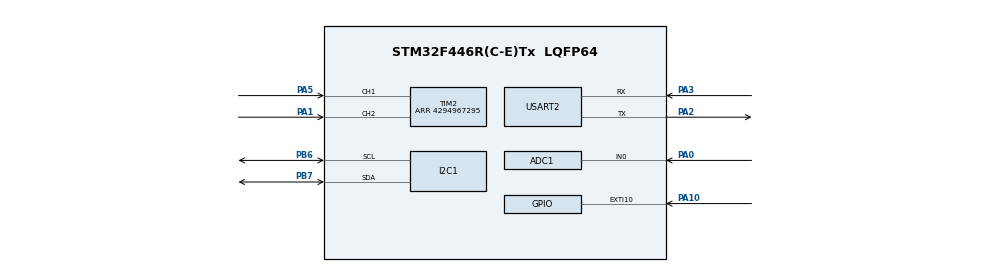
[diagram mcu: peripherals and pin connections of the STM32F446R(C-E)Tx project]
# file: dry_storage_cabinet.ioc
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ADC1.Channel-0\#ChannelRegularConversion=ADC_CHANNEL_0
ADC1.InjNumberOfConversion=0
ADC1.NbrOfConversionFlag=1
ADC1.Rank-0\#ChannelRegularConversion=1
ADC1.SamplingTime-0\#ChannelRegularConversion=ADC_SAMPLETIME_480CYCLES
ADC1.master=1
Mcu.Family=STM32F4
Mcu.Name=STM32F446R(C-E)Tx
Mcu.Package=LQFP64
NVIC.EXTI15_10_IRQn=true\:0\:0\:false\:false\:true\:true\:true\:true
NVIC.PriorityGroup=NVIC_PRIORITYGROUP_4
NVIC.TIM3_IRQn=true\:0\:0\:false\:false\:true\:true\:true\:true
PA0-WKUP.Signal=ADCx_IN0
PA1.Signal=S_TIM2_CH2
PA10.GPIO_PuPd=GPIO_PULLUP
PA10.Signal=GPXTI10
PA2.Mode=Asynchronous
PA2.Signal=USART2_TX
PA3.Mode=Asynchronous
PA3.Signal=USART2_RX
PA5.Signal=S_TIM2_CH1_ETR
PB6.Mode=I2C
PB6.Signal=I2C1_SCL
PB7.Mode=I2C
PB7.Signal=I2C1_SDA
ProjectManager.HeapSize=0x200
ProjectManager.StackSize=0x400
ProjectManager.TargetToolchain=STM32CubeIDE
RCC.CortexFreq_Value=16000000
RCC.USBFreq_Value=96000000
RCC.VCOOutputFreq_Value=192000000
SH.ADCx_IN0.0=ADC1_IN0,IN0
SH.S_TIM2_CH1_ETR.0=TIM2_CH1,Encoder_Interface
SH.S_TIM2_CH2.0=TIM2_CH2,Encoder_Interface
TIM2.AutoReloadPreload=TIM_AUTORELOAD_PRELOAD_ENABLE
TIM2.EncoderMode=TIM_ENCODERMODE_TI12
TIM2.IC1Filter=10
TIM2.IC2Filter=10
TIM2.Period=4294967295
TIM3.AutoReloadPreload=TIM_AUTORELOAD_PRELOAD_ENABLE
TIM3.Period=9999
TIM3.Prescaler=15
USART2.VirtualMode=VM_ASYNC
VP_TIM3_VS_ClockSourceINT.Mode=Internal
board=custom

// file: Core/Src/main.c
/* USER CODE BEGIN Header */
/**
  ******************************************************************************
  * @file           : main.c
  * @brief          : Main program body
  ******************************************************************************
  * @attention
  *
  * Copyright (c) 2026 STMicroelectronics.
  * All rights reserved.
  *
  * This software is licensed under terms that can be found in the LICENSE file
  * in the root directory of this software component.
  * If no LICENSE file comes with this software, it is provided AS-IS.
  *
  ******************************************************************************
  */
/* USER CODE END Header */
#include "main.h"

/* USER CODE BEGIN Includes */
#include <math.h>

#include "uart.h"
#include "encoder.h"
#include "oled.h"
#include "sht30.h"
#include "control.h"
#include "display.h"
/* USER CODE END Includes */

ADC_HandleTypeDef hadc1;

I2C_HandleTypeDef hi2c1;

TIM_HandleTypeDef htim2;
TIM_HandleTypeDef htim3;

UART_HandleTypeDef huart2;

/* USER CODE BEGIN PV */
oled_t oled;
encoder_t encoder;
sht30_t sht30;
control_t control;
display_t display;
uint32_t oled_tick = 0;
/* USER CODE END PV */

void SystemClock_Config(void);
static void MX_GPIO_Init(void);
static void MX_I2C1_Init(void);
static void MX_TIM2_Init(void);
static void MX_USART2_UART_Init(void);
static void MX_TIM3_Init(void);
static void MX_ADC1_Init(void);

/* USER CODE BEGIN 0 */
//void HAL_GPIO_EXTI_Callback(uint16_t GPIO_Pin)
//{
//	if (GPIO_Pin == encoder.button_pin)
//	{
//		if (HAL_GetTick() - encoder.debounce_tick >= 200)
//		{
//			encoder.is_pressed_button = 1;
//			encoder.debounce_tick = HAL_GetTick();
//		}
//	}
//}

//void HAL_TIM_PeriodElapsedCallback(TIM_HandleTypeDef *htim)
//{
//	if (htim == &htim3)
//	{
//		encoder_status_t status;
//		status = encoder_read(&encoder);
//		switch(status)
//		{
//		case ENCODER_NONE:
//			break;
//		case ENCODER_SCROLL_UP:
//			if (display.state == DISPLAY_MENU)
//			{
//				display.cursor_menu = (display.cursor_menu == CURSOR_MENU_SET_TARGET) ? CURSOR_MENU_EXIT : display.cursor_menu - 1;
//			}
//			else if (display.state == DISPLAY_SET_TARGET)
//			{
//				display.cursor_set_target = (display.cursor_set_target == CURSOR_SET_TARGET_TEMP) ? CURSOR_SET_TARGET_BACK : display.cursor_set_target - 1;
//			}
//			else if (display.state == DISPLAY_SET_TARGET_CHOOSE)
//			{
//				if (display.cursor_set_target == CURSOR_SET_TARGET_TEMP)
//				{
//					control.target_temp += 1;
//				}
//				else if (display.cursor_set_target == CURSOR_SET_TARGET_HUM)
//				{
//					control.target_hum += 1;
//				}
//
//				// T.B.D about safety min and max
//			}
//			else if (display.state == DISPLAY_SET_HYSTERESIS)
//			{
//				display.cursor_set_hysteresis = (display.cursor_set_hysteresis == CURSOR_SET_HYSTERESIS_TEMP) ? CURSOR_SET_HYSTERESIS_BACK : display.cursor_set_hysteresis - 1;
//			}
//			else if (display.state == DISPLAY_SET_HYSTERESIS_CHOOSE)
//			{
//				if (display.cursor_set_hysteresis == CURSOR_SET_HYSTERESIS_TEMP)
//				{
//					control.temp_hysteresis += 1;
//				}
//				else if (display.cursor_set_hysteresis == CURSOR_SET_HYSTERESIS_HUM)
//				{
//					control.hum_hysteresis += 1;
//				}
//			}
//			break;
//		case ENCODER_SCROLL_DOWN:
//			if (display.state == DISPLAY_MENU)
//			{
//				display.cursor_menu = (display.cursor_menu == CURSOR_MENU_EXIT) ? CURSOR_MENU_SET_TARGET : display.cursor_menu + 1;
//			}
//			else if (display.state == DISPLAY_SET_TARGET)
//			{
//				display.cursor_set_target = (display.cursor_set_target == CURSOR_SET_TARGET_BACK) ? CURSOR_SET_TARGET_TEMP : display.cursor_set_target + 1;
//			}
//			else if (display.state == DISPLAY_SET_TARGET_CHOOSE)
//			{
//				if (display.cursor_set_target == CURSOR_SET_TARGET_TEMP)
//				{
//					control.target_temp -= 1;
//				}
//				else if (display.cursor_set_target == CURSOR_SET_TARGET_HUM)
//				{
//					control.target_hum -= 1;
//				}
//
//				// T.B.D about safety min and max
//			}
//			else if (display.state == DISPLAY_SET_HYSTERESIS)
//			{
//				display.cursor_set_hysteresis = (display.cursor_set_hysteresis == CURSOR_SET_HYSTERESIS_BACK) ? CURSOR_SET_HYSTERESIS_TEMP : display.cursor_set_hysteresis + 1;
//			}
//			else if (display.state == DISPLAY_SET_HYSTERESIS_CHOOSE)
//			{
//				if (display.cursor_set_hysteresis == CURSOR_SET_HYSTERESIS_TEMP)
//				{
//					control.temp_hysteresis -= 1;
//				}
//				else if (display.cursor_set_hysteresis == CURSOR_SET_HYSTERESIS_HUM)
//				{
//					control.hum_hysteresis -= 1;
//				}
//			}
//			break;
//		case ENCODER_PRESSED:
//			if (display.state == DISPLAY_MAIN) display.state = DISPLAY_MENU;
//			else if (display.state == DISPLAY_MENU)
//			{
//				if (display.cursor_menu == CURSOR_MENU_SET_TARGET)
//				{
//					display.state = DISPLAY_SET_TARGET;
//					display.cursor_set_target = CURSOR_SET_TARGET_TEMP;
//				}
//				else if (display.cursor_menu == CURSOR_MENU_SET_HYSTERESIS)
//				{
//					display.state = DISPLAY_SET_HYSTERESIS;
//					display.cursor_set_hysteresis = CURSOR_SET_HYSTERESIS_TEMP;
//				}
//				else if (display.cursor_menu == CURSOR_MENU_EXIT)
//				{
//					// back to main display
//					display.state = DISPLAY_MAIN;
//					display.cursor_menu = CURSOR_MENU_SET_TARGET;
//				}
//			}
//			else if (display.state == DISPLAY_SET_TARGET)
//			{
//				if (display.cursor_set_target != CURSOR_SET_TARGET_BACK)
//				{
//					display.state = DISPLAY_SET_TARGET_CHOOSE;
//				}
//				else
//				{
//					display.state = DISPLAY_MENU;
//					display.cursor_menu = CURSOR_MENU_SET_TARGET;
//				}
//
//			}
//			else if (display.state == DISPLAY_SET_TARGET_CHOOSE)
//			{
//				display.state = DISPLAY_SET_TARGET;
//			}
//			else if (display.state == DISPLAY_SET_HYSTERESIS)
//			{
//				if (display.cursor_set_hysteresis != CURSOR_SET_HYSTERESIS_BACK)
//				{
//					display.state = DISPLAY_SET_HYSTERESIS_CHOOSE;
//				}
//				else
//				{
//					display.state = DISPLAY_MENU;
//					display.cursor_menu = CURSOR_MENU_SET_TARGET;
//				}
//			}
//			else if (display.state == DISPLAY_SET_HYSTERESIS_CHOOSE)
//			{
//				display.state = DISPLAY_SET_HYSTERESIS;
//			}
//			break;
//		}
//	}
//}
/* USER CODE END 0 */

int main(void)
{

  /* MCU Configuration--------------------------------------------------------*/

  /* Reset of all peripherals, Initializes the Flash interface and the Systick. */
  HAL_Init();

  /* Configure the system clock */
  SystemClock_Config();

  /* Initialize all configured peripherals */
  MX_GPIO_Init();
  MX_I2C1_Init();
  MX_TIM2_Init();
  MX_USART2_UART_Init();
  MX_TIM3_Init();
  MX_ADC1_Init();
  /* USER CODE BEGIN 2 */
//  if (sht30_init(&sht30, &hi2c1, SHT30_ADDR, high_repeatability_mode) == SHT30_ERROR) uart_send_string("FAIL");
//  oled_init(&oled, &hi2c1, OLED_ADDR);
//  encoder_init(&encoder, &htim2, GPIO_PIN_10);
//  control_init(&control);
//  display_init(&display);
//  HAL_TIM_Base_Start_IT(&htim3);
  /* USER CODE END 2 */

  /* Infinite loop */
  /* USER CODE BEGIN WHILE */
  while (1)
  {

	  if (HAL_GetTick() - oled_tick >= 1000)
	  {
		  HAL_ADC_Start(&hadc1);
		  HAL_ADC_PollForConversion(&hadc1, 1000);
		  uint32_t raw = HAL_ADC_GetValue(&hadc1);
		  float r = 10000.0 * (float)raw / (4095.0 - (float)raw);
		  float inv_t = (1.0 / 298.15) + (1.0 / 3950.0) * logf(r / 10000.0);
		  uart_send_int((1.0 / inv_t) - 273.15);
		  uart_send_string("\r\n");
		  oled_tick = HAL_GetTick();
	  }
    /* USER CODE END WHILE */

  }
}

void SystemClock_Config(void)
{
  RCC_OscInitTypeDef RCC_OscInitStruct = {0};
  RCC_ClkInitTypeDef RCC_ClkInitStruct = {0};

  /** Configure the main internal regulator output voltage
  */
  __HAL_RCC_PWR_CLK_ENABLE();
  __HAL_PWR_VOLTAGESCALING_CONFIG(PWR_REGULATOR_VOLTAGE_SCALE3);

  /** Initializes the RCC Oscillators according to the specified parameters
  * in the RCC_OscInitTypeDef structure.
  */
  RCC_OscInitStruct.OscillatorType = RCC_OSCILLATORTYPE_HSI;
  RCC_OscInitStruct.HSIState = RCC_HSI_ON;
  RCC_OscInitStruct.HSICalibrationValue = RCC_HSICALIBRATION_DEFAULT;
  RCC_OscInitStruct.PLL.PLLState = RCC_PLL_NONE;
  if (HAL_RCC_OscConfig(&RCC_OscInitStruct) != HAL_OK)
  {
    Error_Handler();
  }

  /** Initializes the CPU, AHB and APB buses clocks
  */
  RCC_ClkInitStruct.ClockType = RCC_CLOCKTYPE_HCLK|RCC_CLOCKTYPE_SYSCLK
                              |RCC_CLOCKTYPE_PCLK1|RCC_CLOCKTYPE_PCLK2;
  RCC_ClkInitStruct.SYSCLKSource = RCC_SYSCLKSOURCE_HSI;
  RCC_ClkInitStruct.AHBCLKDivider = RCC_SYSCLK_DIV1;
  RCC_ClkInitStruct.APB1CLKDivider = RCC_HCLK_DIV1;
  RCC_ClkInitStruct.APB2CLKDivider = RCC_HCLK_DIV1;

  if (HAL_RCC_ClockConfig(&RCC_ClkInitStruct, FLASH_LATENCY_0) != HAL_OK)
  {
    Error_Handler();
  }
}

static void MX_ADC1_Init(void)
{

  ADC_ChannelConfTypeDef sConfig = {0};

  /** Configure the global features of the ADC (Clock, Resolution, Data Alignment and number of conversion)
  */
  hadc1.Instance = ADC1;
  hadc1.Init.ClockPrescaler = ADC_CLOCK_SYNC_PCLK_DIV2;
  hadc1.Init.Resolution = ADC_RESOLUTION_12B;
  hadc1.Init.ScanConvMode = DISABLE;
  hadc1.Init.ContinuousConvMode = DISABLE;
  hadc1.Init.DiscontinuousConvMode = DISABLE;
  hadc1.Init.ExternalTrigConvEdge = ADC_EXTERNALTRIGCONVEDGE_NONE;
  hadc1.Init.ExternalTrigConv = ADC_SOFTWARE_START;
  hadc1.Init.DataAlign = ADC_DATAALIGN_RIGHT;
  hadc1.Init.NbrOfConversion = 1;
  hadc1.Init.DMAContinuousRequests = DISABLE;
  hadc1.Init.EOCSelection = ADC_EOC_SINGLE_CONV;
  if (HAL_ADC_Init(&hadc1) != HAL_OK)
  {
    Error_Handler();
  }

  /** Configure for the selected ADC regular channel its corresponding rank in the sequencer and its sample time.
  */
  sConfig.Channel = ADC_CHANNEL_0;
  sConfig.Rank = 1;
  sConfig.SamplingTime = ADC_SAMPLETIME_480CYCLES;
  if (HAL_ADC_ConfigChannel(&hadc1, &sConfig) != HAL_OK)
  {
    Error_Handler();
  }

}

static void MX_I2C1_Init(void)
{

  hi2c1.Instance = I2C1;
  hi2c1.Init.ClockSpeed = 100000;
  hi2c1.Init.DutyCycle = I2C_DUTYCYCLE_2;
  hi2c1.Init.OwnAddress1 = 0;
  hi2c1.Init.AddressingMode = I2C_ADDRESSINGMODE_7BIT;
  hi2c1.Init.DualAddressMode = I2C_DUALADDRESS_DISABLE;
  hi2c1.Init.OwnAddress2 = 0;
  hi2c1.Init.GeneralCallMode = I2C_GENERALCALL_DISABLE;
  hi2c1.Init.NoStretchMode = I2C_NOSTRETCH_DISABLE;
  if (HAL_I2C_Init(&hi2c1) != HAL_OK)
  {
    Error_Handler();
  }

}

static void MX_TIM2_Init(void)
{

  TIM_Encoder_InitTypeDef sConfig = {0};
  TIM_MasterConfigTypeDef sMasterConfig = {0};

  htim2.Instance = TIM2;
  htim2.Init.Prescaler = 0;
  htim2.Init.CounterMode = TIM_COUNTERMODE_UP;
  htim2.Init.Period = 4294967295;
  htim2.Init.ClockDivision = TIM_CLOCKDIVISION_DIV1;
  htim2.Init.AutoReloadPreload = TIM_AUTORELOAD_PRELOAD_ENABLE;
  sConfig.EncoderMode = TIM_ENCODERMODE_TI12;
  sConfig.IC1Polarity = TIM_ICPOLARITY_RISING;
  sConfig.IC1Selection = TIM_ICSELECTION_DIRECTTI;
  sConfig.IC1Prescaler = TIM_ICPSC_DIV1;
  sConfig.IC1Filter = 10;
  sConfig.IC2Polarity = TIM_ICPOLARITY_RISING;
  sConfig.IC2Selection = TIM_ICSELECTION_DIRECTTI;
  sConfig.IC2Prescaler = TIM_ICPSC_DIV1;
  sConfig.IC2Filter = 10;
  if (HAL_TIM_Encoder_Init(&htim2, &sConfig) != HAL_OK)
  {
    Error_Handler();
  }
  sMasterConfig.MasterOutputTrigger = TIM_TRGO_RESET;
  sMasterConfig.MasterSlaveMode = TIM_MASTERSLAVEMODE_DISABLE;
  if (HAL_TIMEx_MasterConfigSynchronization(&htim2, &sMasterConfig) != HAL_OK)
  {
    Error_Handler();
  }

}

static void MX_TIM3_Init(void)
{

  TIM_ClockConfigTypeDef sClockSourceConfig = {0};
  TIM_MasterConfigTypeDef sMasterConfig = {0};

  htim3.Instance = TIM3;
  htim3.Init.Prescaler = 15;
  htim3.Init.CounterMode = TIM_COUNTERMODE_UP;
  htim3.Init.Period = 9999;
  htim3.Init.ClockDivision = TIM_CLOCKDIVISION_DIV1;
  htim3.Init.AutoReloadPreload = TIM_AUTORELOAD_PRELOAD_ENABLE;
  if (HAL_TIM_Base_Init(&htim3) != HAL_OK)
  {
    Error_Handler();
  }
  sClockSourceConfig.ClockSource = TIM_CLOCKSOURCE_INTERNAL;
  if (HAL_TIM_ConfigClockSource(&htim3, &sClockSourceConfig) != HAL_OK)
  {
    Error_Handler();
  }
  sMasterConfig.MasterOutputTrigger = TIM_TRGO_RESET;
  sMasterConfig.MasterSlaveMode = TIM_MASTERSLAVEMODE_DISABLE;
  if (HAL_TIMEx_MasterConfigSynchronization(&htim3, &sMasterConfig) != HAL_OK)
  {
    Error_Handler();
  }

}

static void MX_USART2_UART_Init(void)
{

  huart2.Instance = USART2;
  huart2.Init.BaudRate = 115200;
  huart2.Init.WordLength = UART_WORDLENGTH_8B;
  huart2.Init.StopBits = UART_STOPBITS_1;
  huart2.Init.Parity = UART_PARITY_NONE;
  huart2.Init.Mode = UART_MODE_TX_RX;
  huart2.Init.HwFlowCtl = UART_HWCONTROL_NONE;
  huart2.Init.OverSampling = UART_OVERSAMPLING_16;
  if (HAL_UART_Init(&huart2) != HAL_OK)
  {
    Error_Handler();
  }

}

static void MX_GPIO_Init(void)
{
  GPIO_InitTypeDef GPIO_InitStruct = {0};

  /* GPIO Ports Clock Enable */
  __HAL_RCC_GPIOA_CLK_ENABLE();
  __HAL_RCC_GPIOB_CLK_ENABLE();

  /*Configure GPIO pin : PA10 */
  GPIO_InitStruct.Pin = GPIO_PIN_10;
  GPIO_InitStruct.Mode = GPIO_MODE_IT_RISING;
  GPIO_InitStruct.Pull = GPIO_PULLUP;
  HAL_GPIO_Init(GPIOA, &GPIO_InitStruct);

  /* EXTI interrupt init*/
  HAL_NVIC_SetPriority(EXTI15_10_IRQn, 0, 0);
  HAL_NVIC_EnableIRQ(EXTI15_10_IRQn);

}

void Error_Handler(void)
{
  __disable_irq();
  while (1)
  {
  }
}
